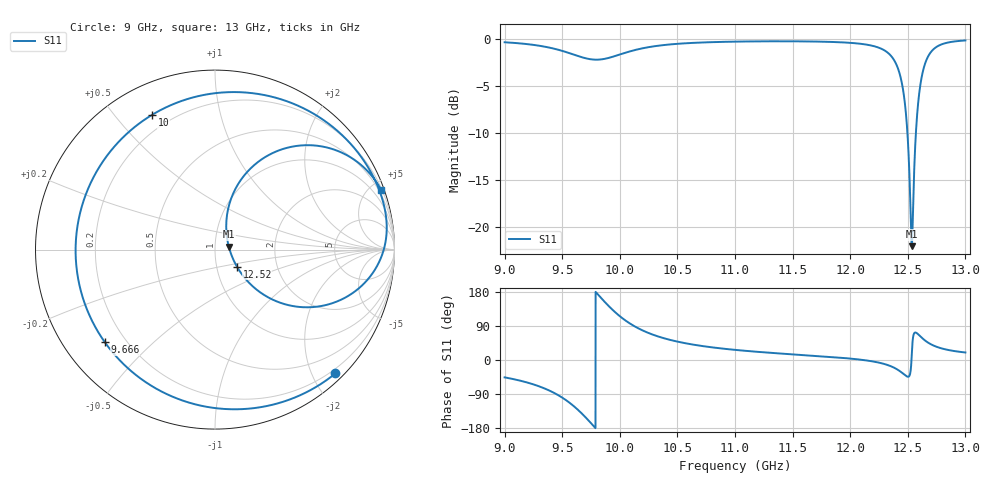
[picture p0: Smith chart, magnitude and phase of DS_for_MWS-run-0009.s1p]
! TOUCHSTONE file generated by CST DESIGN STUDIO
! Date and time: Tue Feb  4 17:49:44 2025
! Project name: C:\Work\MatlabApps\UnitCellOptimizationMatlab\CST\unitcell.cst
! Tree item: Tasks\Sweep1\SPara1\S-Parameters
! Header version: 2024
! Port assignment regex: !\s*Touchstone port\s*([0-9]+)\s*=\s*(CST MWS port|CST DES external port|CST DES block port)\s*(.+)\s* \(\"(.*)\"\)(\s*mode\s*([0-9]+))?.*
! Touchstone port assignment:
! Touchstone port 1 = CST DES external port 1 ("")
# GHz S MA R 50
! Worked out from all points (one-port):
!   4001 points, 9 GHz to 13 GHz, reference 50 ohm
!   lowest |S11| = -22.1 dB at 12.53 GHz (marker M1), VSWR 1.17, Z = 58.3 + j1.81 ohm
!   |S11| at or under -10 dB: 12.5 GHz to 12.57 GHz (73.73 MHz wide, 0.588 % of centre)
!   S11 on the Smith chart (normalised r, x): 9 GHz: 0.13, -2.36; 9.666 GHz: 0.12, -0.36; 10 GHz: 0.13, +0.63; 12.52 GHz: 1.25, -0.24; 13 GHz: 0.28, +5.71
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9  0.962 -45.8
9.272  0.9276 -66.5
9.5  0.8655 -99.2
9.586  0.8324 -118.1
9.666  0.8019 -139.9
9.747  0.7807 -165.7
9.821  0.7776 169.2
9.915  0.7973 138.9
10  0.8277 115.6
10.002  0.8285 115.1
10.106  0.8662 92.9
10.24  0.9037 72.4
10.5  0.9438 48.5
11  0.9695 26.7
11.5  0.9733 14.9
12  0.9552 3.8
12.336  0.8361 -14.4
12.444  0.601 -32.3
12.476  0.4475 -40.1
12.5  0.293 -44.2
12.519  0.1541 -37.8
12.534  0.07857 11.3
12.546  0.1279 60.6
12.569  0.3054 72.4
12.588  0.4433 68.5
12.647  0.7307 52.1
12.775  0.9273 32.3
13  0.9836 19.8
